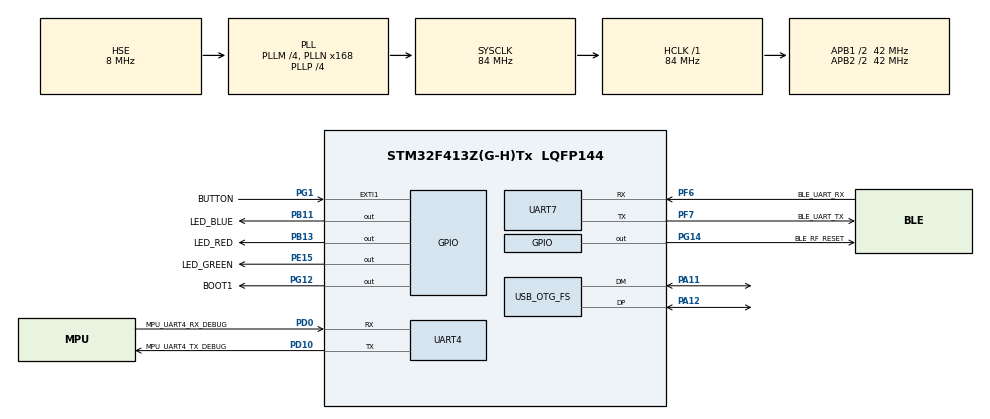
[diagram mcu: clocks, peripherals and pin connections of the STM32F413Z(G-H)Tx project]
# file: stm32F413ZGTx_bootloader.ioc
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Mcu.Family=STM32F4
Mcu.Name=STM32F413Z(G-H)Tx
Mcu.Package=LQFP144
NVIC.EXTI1_IRQn=true\:0\:0\:false\:false\:true\:true\:true
NVIC.OTG_FS_IRQn=true\:0\:0\:false\:false\:true\:false\:true
NVIC.PriorityGroup=NVIC_PRIORITYGROUP_4
NVIC.TIM6_DAC_IRQn=true\:0\:0\:false\:false\:true\:false\:true
NVIC.TimeBase=TIM6_DAC_IRQn
NVIC.TimeBaseIP=TIM6
PA11.Mode=Device_Only
PA11.Signal=USB_OTG_FS_DM
PA12.Mode=Device_Only
PA12.Signal=USB_OTG_FS_DP
PA13.Mode=Serial_Wire
PA13.Signal=SYS_JTMS-SWDIO
PA14.Mode=Serial_Wire
PA14.Signal=SYS_JTCK-SWCLK
PB11.GPIO_Label=LED_BLUE
PB11.Signal=GPIO_Output
PB13.GPIO_Label=LED_RED
PB13.Signal=GPIO_Output
PD0.GPIO_Label=MPU_UART4_RX_DEBUG
PD0.Mode=Asynchronous
PD0.Signal=UART4_RX
PD10.GPIO_Label=MPU_UART4_TX_DEBUG
PD10.Mode=Asynchronous
PD10.Signal=UART4_TX
PE15.GPIO_Label=LED_GREEN
PE15.Signal=GPIO_Output
PF6.GPIO_Label=BLE_UART_RX
PF6.Mode=Asynchronous
PF6.Signal=UART7_RX
PF7.GPIO_Label=BLE_UART_TX
PF7.Mode=Asynchronous
PF7.Signal=UART7_TX
PG1.GPIO_Label=BUTTON
PG1.GPIO_ModeDefaultEXTI=GPIO_MODE_IT_RISING_FALLING
PG1.Signal=GPXTI1
PG12.GPIO_Label=BOOT1
PG12.Signal=GPIO_Output
PG14.GPIO_Label=BLE_RF_RESET
PG14.Signal=GPIO_Output
PH0\ -\ OSC_IN.Mode=HSE-External-Oscillator
PH0\ -\ OSC_IN.Signal=RCC_OSC_IN
PH1\ -\ OSC_OUT.Mode=HSE-External-Oscillator
PH1\ -\ OSC_OUT.Signal=RCC_OSC_OUT
ProjectManager.HeapSize=0x1000
ProjectManager.StackSize=0x400
ProjectManager.TargetToolchain=STM32CubeIDE
RCC.AHBFreq_Value=84000000
RCC.APB1CLKDivider=RCC_HCLK_DIV2
RCC.APB1Freq_Value=42000000
RCC.APB1TimFreq_Value=84000000
RCC.APB2CLKDivider=RCC_HCLK_DIV2
RCC.APB2Freq_Value=42000000
RCC.APB2TimFreq_Value=84000000
RCC.CortexFreq_Value=84000000
RCC.HCLKFreq_Value=84000000
RCC.HSE_VALUE=8000000
RCC.PLLM=4
RCC.PLLN=168
RCC.PLLP=RCC_PLLP_DIV4
RCC.PLLQ=7
RCC.SYSCLKFreq_VALUE=84000000
RCC.SYSCLKSource=RCC_SYSCLKSOURCE_PLLCLK
RCC.USBFreq_Value=48000000
RCC.VCOOutputFreq_Value=336000000
UART4.VirtualMode=Asynchronous
UART7.VirtualMode=Asynchronous
USB_DEVICE.CLASS_NAME_FS=DFU
USB_DEVICE.USBD_DFU_APP_DEFAULT_ADD=0x08040000
USB_DEVICE.USBD_DFU_MEDIA=@Internal Flash   /0x08000000/04*016Ka,01*064Kg,11*128Kg
USB_DEVICE.VirtualMode=Dfu
USB_DEVICE.VirtualModeFS=Dfu_FS
USB_OTG_FS.VirtualMode=Device_Only
VP_SYS_VS_tim6.Mode=TIM6
VP_USB_DEVICE_VS_USB_DEVICE_DFU_FS.Mode=DFU_FS
board=custom

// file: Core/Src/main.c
/* USER CODE BEGIN Header */
/**
  ******************************************************************************
  * @file           : main.c
  * @brief          : Main program body
  ******************************************************************************
  * @attention
  *
  * <h2><center>&copy; Copyright (c) 2021 STMicroelectronics.
  * All rights reserved.</center></h2>
  *
  * This software component is licensed by ST under Ultimate Liberty license
  * SLA0044, the "License"; You may not use this file except in compliance with
  * the License. You may obtain a copy of the License at:
  *                             www.st.com/SLA0044
  *
  ******************************************************************************
  */
/* USER CODE END Header */
#include "main.h"
#include "usart.h"
#include "gpio.h"

/* USER CODE BEGIN Includes */
#include <stdio.h>
#include <string.h>
#include "usb_device.h"
#include "bootloader.h"
#include "flash.h"
/* USER CODE END Includes */

/* USER CODE BEGIN PTD */
typedef  void (*pFunction)(void);

pFunction JumpToApplication;
uint32_t JumpAddress;
/* USER CODE END PTD */

void SystemClock_Config(void);

/* USER CODE BEGIN 0 */
int __io_putchar(int ch)
{
	HAL_UART_Transmit(&huart4, (uint8_t *)&ch, 1, 1);
	return ch;
}

/* USER CODE END 0 */

int main(void)
{

  /* MCU Configuration--------------------------------------------------------*/

  /* Reset of all peripherals, Initializes the Flash interface and the Systick. */
  HAL_Init();

  /* Configure the system clock */
  SystemClock_Config();

  /* Initialize all configured peripherals */
  MX_GPIO_Init();
  MX_UART4_Init();
  MX_UART7_Init();
  /* USER CODE BEGIN 2 */
  printf("bootloader start... \r\n");
  /* USER CODE END 2 */

  /* Infinite loop */
  /* USER CODE BEGIN WHILE */
/*
    check valid application
    if not, DFU mode
  */
  if (((*(__IO uint32_t *) USBD_DFU_APP_DEFAULT_ADD-1) & 0x2FFB0000) == 0x20000000)
  {
    printf("valid app \r\n");

    /*  roll back when DFU fail caused by version, key etc.  */
    bootloader_check_DFU();

    /* check user flash. if disable, jump to application */
    if (flash_read_int_value(FLASH_IDX_DFU_ENABLE) != FLASH_DFU_ENABLE)
    {
      printf("jump to application \r\n");
      HAL_GPIO_WritePin(GPIOB, GPIO_PIN_7, GPIO_PIN_RESET);
      HAL_Delay(100);

      /* Jump to user application */
      JumpAddress = *(__IO uint32_t *) (USBD_DFU_APP_DEFAULT_ADD + 4);
      JumpToApplication = (pFunction) JumpAddress;

      /* initialize peripheral, clock, hal etc. */
      HAL_UART_MspDeInit(&huart4);
      HAL_UART_MspDeInit(&huart7);
      MX_GPIO_DeInit();
      HAL_RCC_DeInit();
      HAL_DeInit();

	    SysTick->CTRL = 0;
	    SysTick->LOAD = 0;
	    SysTick->VAL  = 0;

      /* Initialize user application's Stack Pointer */
      __set_MSP(*(__IO uint32_t *) USBD_DFU_APP_DEFAULT_ADD);

      JumpToApplication();
    }
    else if (flash_read_int_value(FLASH_IDX_DFU_ENABLE) == FLASH_DFU_ENABLE)
    {
      flash_write_int_value(FLASH_IDX_DFU_ENABLE, FLASH_DFU_DISABLE);
      HAL_Delay(10);

      /* back up code */
      printf("ready to dfu \r\n");
      bootloader_copy_image(USBD_DFU_APP_DEFAULT_ADD, ADDR_FLASH_COPY, APP_NUMS_SECTOR);
      HAL_Delay(100);
    }
  }
  else
  {
    /*  whether there is a code at back up region  */
    if (((*(__IO uint32_t *) ADDR_FLASH_COPY - 1) & 0x2FFB0000) == 0x20000000)
    {
      printf("DFU fail during erase , roll back \r\n");
      bootloader_rollback_version();
    }
    printf("invalid app \r\n");
  }

  MX_USB_DEVICE_Init();
  printf("DFU mode \r\n");

  uint8_t led = 0;
  while (1)
  {
    switch(led++)
    {
      case 0:
      {
        HAL_GPIO_WritePin(GPIOB, LED_RED_Pin, GPIO_PIN_SET);
        break;
      }
      case 1:
      {
        HAL_GPIO_WritePin(LED_GREEN_GPIO_Port, LED_GREEN_Pin, GPIO_PIN_SET);
        break;
      }
      case 2:
      {
        HAL_GPIO_WritePin(GPIOB, LED_BLUE_Pin, GPIO_PIN_SET);
        led = 0;
        break;
      }
    }
    HAL_Delay(1000);
    HAL_GPIO_WritePin(LED_GREEN_GPIO_Port, LED_GREEN_Pin, GPIO_PIN_RESET);
    HAL_GPIO_WritePin(GPIOB, LED_BLUE_Pin|LED_RED_Pin, GPIO_PIN_RESET);

    /* USER CODE END WHILE */

  }
}

void SystemClock_Config(void)
{
  RCC_OscInitTypeDef RCC_OscInitStruct = {0};
  RCC_ClkInitTypeDef RCC_ClkInitStruct = {0};
  RCC_PeriphCLKInitTypeDef PeriphClkInitStruct = {0};

  /** Configure the main internal regulator output voltage
  */
  __HAL_RCC_PWR_CLK_ENABLE();
  __HAL_PWR_VOLTAGESCALING_CONFIG(PWR_REGULATOR_VOLTAGE_SCALE1);
  /** Initializes the RCC Oscillators according to the specified parameters
  * in the RCC_OscInitTypeDef structure.
  */
  RCC_OscInitStruct.OscillatorType = RCC_OSCILLATORTYPE_HSE;
  RCC_OscInitStruct.HSEState = RCC_HSE_ON;
  RCC_OscInitStruct.PLL.PLLState = RCC_PLL_ON;
  RCC_OscInitStruct.PLL.PLLSource = RCC_PLLSOURCE_HSE;
  RCC_OscInitStruct.PLL.PLLM = 4;
  RCC_OscInitStruct.PLL.PLLN = 168;
  RCC_OscInitStruct.PLL.PLLP = RCC_PLLP_DIV4;
  RCC_OscInitStruct.PLL.PLLQ = 7;
  RCC_OscInitStruct.PLL.PLLR = 2;
  if (HAL_RCC_OscConfig(&RCC_OscInitStruct) != HAL_OK)
  {
    Error_Handler();
  }
  /** Initializes the CPU, AHB and APB buses clocks
  */
  RCC_ClkInitStruct.ClockType = RCC_CLOCKTYPE_HCLK|RCC_CLOCKTYPE_SYSCLK
                              |RCC_CLOCKTYPE_PCLK1|RCC_CLOCKTYPE_PCLK2;
  RCC_ClkInitStruct.SYSCLKSource = RCC_SYSCLKSOURCE_PLLCLK;
  RCC_ClkInitStruct.AHBCLKDivider = RCC_SYSCLK_DIV1;
  RCC_ClkInitStruct.APB1CLKDivider = RCC_HCLK_DIV2;
  RCC_ClkInitStruct.APB2CLKDivider = RCC_HCLK_DIV2;

  if (HAL_RCC_ClockConfig(&RCC_ClkInitStruct, FLASH_LATENCY_3) != HAL_OK)
  {
    Error_Handler();
  }
  PeriphClkInitStruct.PeriphClockSelection = RCC_PERIPHCLK_CLK48;
  PeriphClkInitStruct.Clk48ClockSelection = RCC_CLK48CLKSOURCE_PLLQ;
  if (HAL_RCCEx_PeriphCLKConfig(&PeriphClkInitStruct) != HAL_OK)
  {
    Error_Handler();
  }
}

 /**
  * @brief  Period elapsed callback in non blocking mode
  * @note   This function is called  when TIM6 interrupt took place, inside
  * HAL_TIM_IRQHandler(). It makes a direct call to HAL_IncTick() to increment
  * a global variable "uwTick" used as application time base.
  * @param  htim : TIM handle
  * @retval None
  */
void HAL_TIM_PeriodElapsedCallback(TIM_HandleTypeDef *htim)
{
  if (htim->Instance == TIM6) {
    HAL_IncTick();
  }
}

void Error_Handler(void)
{
  __disable_irq();
  while (1)
  {
  }
}

/************************ (C) COPYRIGHT STMicroelectronics *****END OF FILE****/
